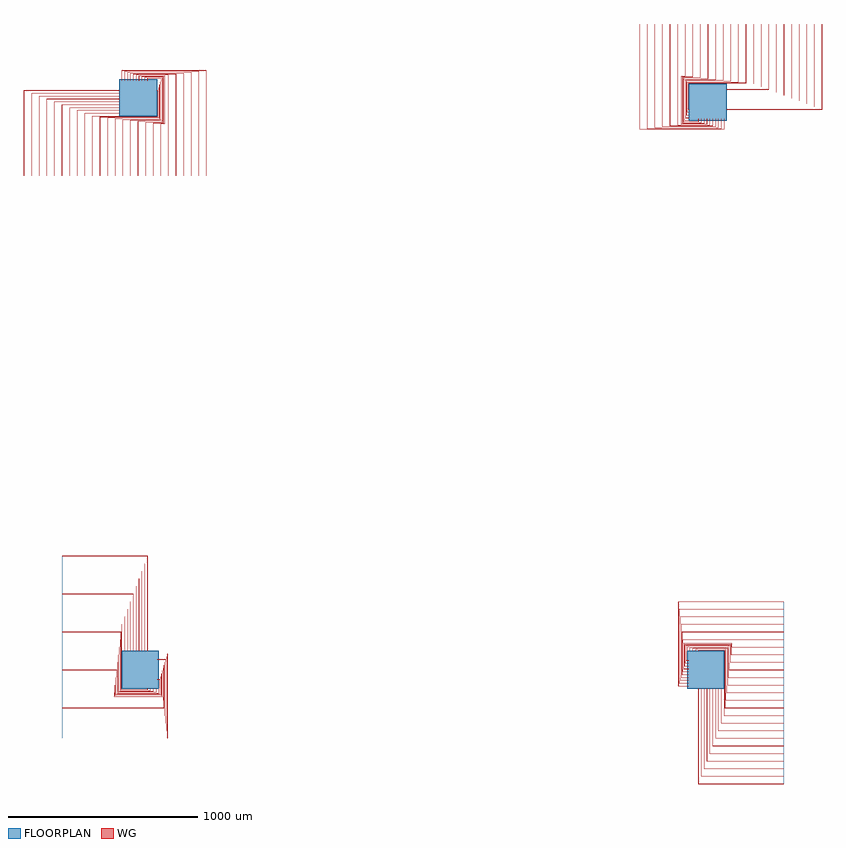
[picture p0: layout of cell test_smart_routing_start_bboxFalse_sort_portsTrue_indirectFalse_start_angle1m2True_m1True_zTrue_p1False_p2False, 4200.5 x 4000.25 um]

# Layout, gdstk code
import gdstk
lib = gdstk.Library(unit=1e-6, precision=1e-09)
def R(c, l, rs):  # rectangles x0, y0, x1, y1
    for r in rs: c.add(gdstk.rectangle(r[:2], r[2:], *l))
def P(c, l, *ps):  # polygons
    for p in ps: c.add(gdstk.Polygon(p, *l))
WG = (1, 0)
FLOORPLAN = (10, 0)

test_smart_routing_start = lib.new_cell('test_smart_routing_start_bboxFalse_sort_portsTrue_indirectFalse_start_angle1m2True_m1True_zTrue_p1False_p2False')
P(test_smart_routing_start, WG, [(-600.25,2600),(-600.25,3050.25),(-100,3050.25),(-100,3049.75),(-599.75,3049.75),(-599.75,2600)],
  [(-560.25,2600),(-560.25,3035.25),(-100,3035.25),(-100,3034.75),(-559.75,3034.75),(-559.75,2600)],
  [(-520.25,2600),(-520.25,3020.25),(-100,3020.25),(-100,3019.75),(-519.75,3019.75),(-519.75,2600)],
  [(-480.25,2600),(-480.25,3005.25),(-100,3005.25),(-100,3004.75),(-479.75,3004.75),(-479.75,2600)],
  [(-440.25,2600),(-440.25,2990.25),(-100,2990.25),(-100,2989.75),(-439.75,2989.75),(-439.75,2600)],
  [(-400.25,2600),(-400.25,2975.25),(-100,2975.25),(-100,2974.75),(-399.75,2974.75),(-399.75,2600)],
  [(-360.25,2600),(-360.25,2960.25),(-100,2960.25),(-100,2959.75),(-359.75,2959.75),(-359.75,2600)],
  [(-320.25,2600),(-320.25,2945.25),(-100,2945.25),(-100,2944.75),(-319.75,2944.75),(-319.75,2600)],
  [(-280.25,2600),(-280.25,2930.25),(-100,2930.25),(-100,2929.75),(-279.75,2929.75),(-279.75,2600)],
  [(-240.25,2600),(-240.25,2915.25),(-100,2915.25),(-100,2914.75),(-239.75,2914.75),(-239.75,2600)],
  [(-200.25,2600),(-200.25,2910.75),(104,2910.75),(104,3049.75),(100,3049.75),(100,3050.25),(104.5,3050.25),(104.5,2910.25),(-199.75,2910.25),(-199.75,2600)],
  [(-160.25,2600),(-160.25,2906.25),(108.5,2906.25),(108.5,3064.75),(100,3064.75),(100,3065.25),(109,3065.25),(109,2905.75),(-159.75,2905.75),(-159.75,2600)],
  [(-120.25,2600),(-120.25,2901.75),(113,2901.75),(113,3079.75),(100,3079.75),(100,3080.25),(113.5,3080.25),(113.5,2901.25),(-119.75,2901.25),(-119.75,2600)],
  [(-80.25,2600),(-80.25,2897.25),(117.5,2897.25),(117.5,3094.75),(100,3094.75),(100,3095.25),(118,3095.25),(118,2896.75),(-79.75,2896.75),(-79.75,2600)],
  [(-40.25,2600),(-40.25,2892.75),(122,2892.75),(122,3109.75),(100,3109.75),(100,3110.25),(122.5,3110.25),(122.5,2892.25),(-39.75,2892.25),(-39.75,2600)],
  [(-0.25,2600),(-0.25,2888.25),(126.5,2888.25),(126.5,3114.25),(50.25,3114.25),(50.25,3100),(49.75,3100),(49.75,3114.75),(127,3114.75),(127,2887.75),(0.25,2887.75),(0.25,2600)],
  [(39.75,2600),(39.75,2883.75),(131,2883.75),(131,3118.75),(35.25,3118.75),(35.25,3100),(34.75,3100),(34.75,3119.25),(131.5,3119.25),(131.5,2883.25),(40.25,2883.25),(40.25,2600)],
  [(79.75,2600),(79.75,2879.25),(135.5,2879.25),(135.5,3123.25),(20.25,3123.25),(20.25,3100),(19.75,3100),(19.75,3123.75),(136,3123.75),(136,2878.75),(80.25,2878.75),(80.25,2600)],
  [(119.75,2600),(119.75,2874.75),(140,2874.75),(140,3127.75),(5.25,3127.75),(5.25,3100),(4.75,3100),(4.75,3128.25),(140.5,3128.25),(140.5,2874.25),(120.25,2874.25),(120.25,2600)],
  [(159.75,2600),(159.75,3132.25),(-9.75,3132.25),(-9.75,3100),(-10.25,3100),(-10.25,3132.75),(160.25,3132.75),(160.25,2600)],
  [(199.75,2600),(199.75,3136.75),(-24.75,3136.75),(-24.75,3100),(-25.25,3100),(-25.25,3137.25),(200.25,3137.25),(200.25,2600)],
  [(239.75,2600),(239.75,3141.25),(-39.75,3141.25),(-39.75,3100),(-40.25,3100),(-40.25,3141.75),(240.25,3141.75),(240.25,2600)],
  [(279.75,2600),(279.75,3145.75),(-54.75,3145.75),(-54.75,3100),(-55.25,3100),(-55.25,3146.25),(280.25,3146.25),(280.25,2600)],
  [(319.75,2600),(319.75,3150.25),(-69.75,3150.25),(-69.75,3100),(-70.25,3100),(-70.25,3150.75),(320.25,3150.75),(320.25,2600)],
  [(359.75,2600),(359.75,3154.75),(-84.75,3154.75),(-84.75,3100),(-85.25,3100),(-85.25,3155.25),(360.25,3155.25),(360.25,2600)],
  [(49.75,100),(49.75,599.75),(-400,599.75),(-400,600.25),(50.25,600.25),(50.25,100)],
  [(34.75,100),(34.75,559.75),(-400,559.75),(-400,560.25),(35.25,560.25),(35.25,100)],
  [(19.75,100),(19.75,519.75),(-400,519.75),(-400,520.25),(20.25,520.25),(20.25,100)],
  [(4.75,100),(4.75,479.75),(-400,479.75),(-400,480.25),(5.25,480.25),(5.25,100)],
  [(-10.25,100),(-10.25,439.75),(-400,439.75),(-400,440.25),(-9.75,440.25),(-9.75,100)],
  [(-25.25,100),(-25.25,399.75),(-400,399.75),(-400,400.25),(-24.75,400.25),(-24.75,100)],
  [(-40.25,100),(-40.25,359.75),(-400,359.75),(-400,360.25),(-39.75,360.25),(-39.75,100)],
  [(-55.25,100),(-55.25,319.75),(-400,319.75),(-400,320.25),(-54.75,320.25),(-54.75,100)],
  [(-70.25,100),(-70.25,279.75),(-400,279.75),(-400,280.25),(-69.75,280.25),(-69.75,100)],
  [(-85.25,100),(-85.25,239.75),(-400,239.75),(-400,240.25),(-84.75,240.25),(-84.75,100)],
  [(-89.75,-104.5),(-89.75,199.75),(-400,199.75),(-400,200.25),(-89.25,200.25),(-89.25,-104),(49.75,-104),(49.75,-100),(50.25,-100),(50.25,-104.5)],
  [(-94.25,-109),(-94.25,159.75),(-400,159.75),(-400,160.25),(-93.75,160.25),(-93.75,-108.5),(64.75,-108.5),(64.75,-100),(65.25,-100),(65.25,-109)],
  [(-98.75,-113.5),(-98.75,119.75),(-400,119.75),(-400,120.25),(-98.25,120.25),(-98.25,-113),(79.75,-113),(79.75,-100),(80.25,-100),(80.25,-113.5)],
  [(-103.25,-118),(-103.25,79.75),(-400,79.75),(-400,80.25),(-102.75,80.25),(-102.75,-117.5),(94.75,-117.5),(94.75,-100),(95.25,-100),(95.25,-118)],
  [(-107.75,-122.5),(-107.75,39.75),(-400,39.75),(-400,40.25),(-107.25,40.25),(-107.25,-122),(109.75,-122),(109.75,-100),(110.25,-100),(110.25,-122.5)],
  [(-112.25,-127),(-112.25,-0.25),(-400,-0.25),(-400,0.25),(-111.75,0.25),(-111.75,-126.5),(114.25,-126.5),(114.25,-50.25),(100,-50.25),(100,-49.75),(114.75,-49.75),(114.75,-127)],
  [(-116.75,-131.5),(-116.75,-40.25),(-400,-40.25),(-400,-39.75),(-116.25,-39.75),(-116.25,-131),(118.75,-131),(118.75,-35.25),(100,-35.25),(100,-34.75),(119.25,-34.75),(119.25,-131.5)],
  [(-121.25,-136),(-121.25,-80.25),(-400,-80.25),(-400,-79.75),(-120.75,-79.75),(-120.75,-135.5),(123.25,-135.5),(123.25,-20.25),(100,-20.25),(100,-19.75),(123.75,-19.75),(123.75,-136)],
  [(-125.75,-140.5),(-125.75,-120.25),(-400,-120.25),(-400,-119.75),(-125.25,-119.75),(-125.25,-140),(127.75,-140),(127.75,-5.25),(100,-5.25),(100,-4.75),(128.25,-4.75),(128.25,-140.5)],
  [(-400,-160.25),(-400,-159.75),(132.25,-159.75),(132.25,9.75),(100,9.75),(100,10.25),(132.75,10.25),(132.75,-160.25)],
  [(-400,-200.25),(-400,-199.75),(136.75,-199.75),(136.75,24.75),(100,24.75),(100,25.25),(137.25,25.25),(137.25,-200.25)],
  [(-400,-240.25),(-400,-239.75),(141.25,-239.75),(141.25,39.75),(100,39.75),(100,40.25),(141.75,40.25),(141.75,-240.25)],
  [(-400,-280.25),(-400,-279.75),(145.75,-279.75),(145.75,54.75),(100,54.75),(100,55.25),(146.25,55.25),(146.25,-280.25)],
  [(-400,-320.25),(-400,-319.75),(150.25,-319.75),(150.25,69.75),(100,69.75),(100,70.25),(150.75,70.25),(150.75,-320.25)],
  [(-400,-360.25),(-400,-359.75),(154.75,-359.75),(154.75,84.75),(100,84.75),(100,85.25),(155.25,85.25),(155.25,-360.25)],
  [(2949.75,-600.25),(2949.75,-100),(2950.25,-100),(2950.25,-599.75),(3400,-599.75),(3400,-600.25)],
  [(2964.75,-560.25),(2964.75,-100),(2965.25,-100),(2965.25,-559.75),(3400,-559.75),(3400,-560.25)],
  [(2979.75,-520.25),(2979.75,-100),(2980.25,-100),(2980.25,-519.75),(3400,-519.75),(3400,-520.25)],
  [(2994.75,-480.25),(2994.75,-100),(2995.25,-100),(2995.25,-479.75),(3400,-479.75),(3400,-480.25)],
  [(3009.75,-440.25),(3009.75,-100),(3010.25,-100),(3010.25,-439.75),(3400,-439.75),(3400,-440.25)],
  [(3024.75,-400.25),(3024.75,-100),(3025.25,-100),(3025.25,-399.75),(3400,-399.75),(3400,-400.25)],
  [(3039.75,-360.25),(3039.75,-100),(3040.25,-100),(3040.25,-359.75),(3400,-359.75),(3400,-360.25)],
  [(3054.75,-320.25),(3054.75,-100),(3055.25,-100),(3055.25,-319.75),(3400,-319.75),(3400,-320.25)],
  [(3069.75,-280.25),(3069.75,-100),(3070.25,-100),(3070.25,-279.75),(3400,-279.75),(3400,-280.25)],
  [(3084.75,-240.25),(3084.75,-100),(3085.25,-100),(3085.25,-239.75),(3400,-239.75),(3400,-240.25)],
  [(3089.25,-200.25),(3089.25,104),(2950.25,104),(2950.25,100),(2949.75,100),(2949.75,104.5),(3089.75,104.5),(3089.75,-199.75),(3400,-199.75),(3400,-200.25)],
  [(3093.75,-160.25),(3093.75,108.5),(2935.25,108.5),(2935.25,100),(2934.75,100),(2934.75,109),(3094.25,109),(3094.25,-159.75),(3400,-159.75),(3400,-160.25)],
  [(3098.25,-120.25),(3098.25,113),(2920.25,113),(2920.25,100),(2919.75,100),(2919.75,113.5),(3098.75,113.5),(3098.75,-119.75),(3400,-119.75),(3400,-120.25)],
  [(3102.75,-80.25),(3102.75,117.5),(2905.25,117.5),(2905.25,100),(2904.75,100),(2904.75,118),(3103.25,118),(3103.25,-79.75),(3400,-79.75),(3400,-80.25)],
  [(3107.25,-40.25),(3107.25,122),(2890.25,122),(2890.25,100),(2889.75,100),(2889.75,122.5),(3107.75,122.5),(3107.75,-39.75),(3400,-39.75),(3400,-40.25)],
  [(3111.75,-0.25),(3111.75,126.5),(2885.75,126.5),(2885.75,50.25),(2900,50.25),(2900,49.75),(2885.25,49.75),(2885.25,127),(3112.25,127),(3112.25,0.25),(3400,0.25),(3400,-0.25)],
  [(2880.75,34.75),(2880.75,131.5),(3116.75,131.5),(3116.75,40.25),(3400,40.25),(3400,39.75),(3116.25,39.75),(3116.25,131),(2881.25,131),(2881.25,35.25),(2900,35.25),(2900,34.75)],
  [(2876.25,19.75),(2876.25,136),(3121.25,136),(3121.25,80.25),(3400,80.25),(3400,79.75),(3120.75,79.75),(3120.75,135.5),(2876.75,135.5),(2876.75,20.25),(2900,20.25),(2900,19.75)],
  [(2871.75,4.75),(2871.75,140.5),(3125.75,140.5),(3125.75,120.25),(3400,120.25),(3400,119.75),(3125.25,119.75),(3125.25,140),(2872.25,140),(2872.25,5.25),(2900,5.25),(2900,4.75)],
  [(2867.25,-10.25),(2867.25,160.25),(3400,160.25),(3400,159.75),(2867.75,159.75),(2867.75,-9.75),(2900,-9.75),(2900,-10.25)],
  [(2862.75,-25.25),(2862.75,200.25),(3400,200.25),(3400,199.75),(2863.25,199.75),(2863.25,-24.75),(2900,-24.75),(2900,-25.25)],
  [(2858.25,-40.25),(2858.25,240.25),(3400,240.25),(3400,239.75),(2858.75,239.75),(2858.75,-39.75),(2900,-39.75),(2900,-40.25)],
  [(2853.75,-55.25),(2853.75,280.25),(3400,280.25),(3400,279.75),(2854.25,279.75),(2854.25,-54.75),(2900,-54.75),(2900,-55.25)],
  [(2849.25,-70.25),(2849.25,320.25),(3400,320.25),(3400,319.75),(2849.75,319.75),(2849.75,-69.75),(2900,-69.75),(2900,-70.25)],
  [(2844.75,-85.25),(2844.75,360.25),(3400,360.25),(3400,359.75),(2845.25,359.75),(2845.25,-84.75),(2900,-84.75),(2900,-85.25)],
  [(3100,2949.75),(3100,2950.25),(3599.75,2950.25),(3599.75,3400),(3600.25,3400),(3600.25,2949.75)],
  [(3100,2964.75),(3100,2965.25),(3559.75,2965.25),(3559.75,3400),(3560.25,3400),(3560.25,2964.75)],
  [(3100,2979.75),(3100,2980.25),(3519.75,2980.25),(3519.75,3400),(3520.25,3400),(3520.25,2979.75)],
  [(3100,2994.75),(3100,2995.25),(3479.75,2995.25),(3479.75,3400),(3480.25,3400),(3480.25,2994.75)],
  [(3100,3009.75),(3100,3010.25),(3439.75,3010.25),(3439.75,3400),(3440.25,3400),(3440.25,3009.75)],
  [(3100,3024.75),(3100,3025.25),(3399.75,3025.25),(3399.75,3400),(3400.25,3400),(3400.25,3024.75)],
  [(3100,3039.75),(3100,3040.25),(3359.75,3040.25),(3359.75,3400),(3360.25,3400),(3360.25,3039.75)],
  [(3100,3054.75),(3100,3055.25),(3319.75,3055.25),(3319.75,3400),(3320.25,3400),(3320.25,3054.75)],
  [(3100,3069.75),(3100,3070.25),(3279.75,3070.25),(3279.75,3400),(3280.25,3400),(3280.25,3069.75)],
  [(3100,3084.75),(3100,3085.25),(3239.75,3085.25),(3239.75,3400),(3240.25,3400),(3240.25,3084.75)],
  [(2895.5,2949.75),(2895.5,3089.75),(3199.75,3089.75),(3199.75,3400),(3200.25,3400),(3200.25,3089.25),(2896,3089.25),(2896,2950.25),(2900,2950.25),(2900,2949.75)],
  [(2891,2934.75),(2891,3094.25),(3159.75,3094.25),(3159.75,3400),(3160.25,3400),(3160.25,3093.75),(2891.5,3093.75),(2891.5,2935.25),(2900,2935.25),(2900,2934.75)],
  [(2886.5,2919.75),(2886.5,3098.75),(3119.75,3098.75),(3119.75,3400),(3120.25,3400),(3120.25,3098.25),(2887,3098.25),(2887,2920.25),(2900,2920.25),(2900,2919.75)],
  [(2882,2904.75),(2882,3103.25),(3079.75,3103.25),(3079.75,3400),(3080.25,3400),(3080.25,3102.75),(2882.5,3102.75),(2882.5,2905.25),(2900,2905.25),(2900,2904.75)],
  [(2877.5,2889.75),(2877.5,3107.75),(3039.75,3107.75),(3039.75,3400),(3040.25,3400),(3040.25,3107.25),(2878,3107.25),(2878,2890.25),(2900,2890.25),(2900,2889.75)],
  [(2873,2885.25),(2873,3112.25),(2999.75,3112.25),(2999.75,3400),(3000.25,3400),(3000.25,3111.75),(2873.5,3111.75),(2873.5,2885.75),(2949.75,2885.75),(2949.75,2900),(2950.25,2900),(2950.25,2885.25)],
  [(2868.5,2880.75),(2868.5,3116.75),(2959.75,3116.75),(2959.75,3400),(2960.25,3400),(2960.25,3116.25),(2869,3116.25),(2869,2881.25),(2964.75,2881.25),(2964.75,2900),(2965.25,2900),(2965.25,2880.75)],
  [(2864,2876.25),(2864,3121.25),(2919.75,3121.25),(2919.75,3400),(2920.25,3400),(2920.25,3120.75),(2864.5,3120.75),(2864.5,2876.75),(2979.75,2876.75),(2979.75,2900),(2980.25,2900),(2980.25,2876.25)],
  [(2859.5,2871.75),(2859.5,3125.75),(2879.75,3125.75),(2879.75,3400),(2880.25,3400),(2880.25,3125.25),(2860,3125.25),(2860,2872.25),(2994.75,2872.25),(2994.75,2900),(2995.25,2900),(2995.25,2871.75)],
  [(2839.75,2867.25),(2839.75,3400),(2840.25,3400),(2840.25,2867.75),(3009.75,2867.75),(3009.75,2900),(3010.25,2900),(3010.25,2867.25)],
  [(2799.75,2862.75),(2799.75,3400),(2800.25,3400),(2800.25,2863.25),(3024.75,2863.25),(3024.75,2900),(3025.25,2900),(3025.25,2862.75)],
  [(2759.75,2858.25),(2759.75,3400),(2760.25,3400),(2760.25,2858.75),(3039.75,2858.75),(3039.75,2900),(3040.25,2900),(3040.25,2858.25)],
  [(2719.75,2853.75),(2719.75,3400),(2720.25,3400),(2720.25,2854.25),(3054.75,2854.25),(3054.75,2900),(3055.25,2900),(3055.25,2853.75)],
  [(2679.75,2849.25),(2679.75,3400),(2680.25,3400),(2680.25,2849.75),(3069.75,2849.75),(3069.75,2900),(3070.25,2900),(3070.25,2849.25)],
  [(2639.75,2844.75),(2639.75,3400),(2640.25,3400),(2640.25,2845.25),(3084.75,2845.25),(3084.75,2900),(3085.25,2900),(3085.25,2844.75)])
R(test_smart_routing_start, FLOORPLAN, [(-85,-100,110,100), (2890,-100,3085,100), (2900,2890,3100,3085), (-100,2915,100,3110)])
P(test_smart_routing_start, FLOORPLAN, [(-400,-360),(-400,600),(-400,600),(-400,-360)],
  [(-600,2600),(-600,2600),(360,2600),(360,2600)],
  [(3400,-600),(3400,360),(3400,360),(3400,-600)],
  [(2640,3400),(2640,3400),(3600,3400),(3600,3400)])

lib.write_gds('test_smart_routing_start_bboxFalse_sort_portsTrue_indirectFalse_start_angle1m2True_m1True_zTrue_p1False_p2False.gds')
